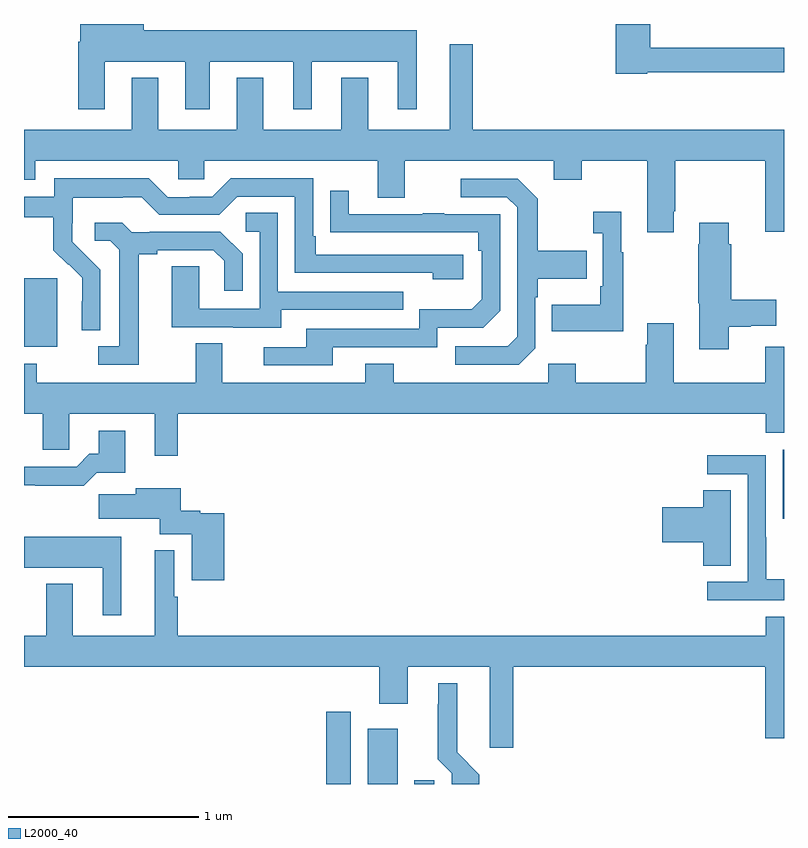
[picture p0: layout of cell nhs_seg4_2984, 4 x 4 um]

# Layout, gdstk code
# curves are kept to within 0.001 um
import gdstk
lib = gdstk.Library(unit=1e-6, precision=1e-09)
def R(c, l, rs):  # rectangles x0, y0, x1, y1
    for r in rs: c.add(gdstk.rectangle(r[:2], r[2:], *l))
def P(c, l, *ps):  # polygons
    for p in ps: c.add(gdstk.Polygon(p, *l))
L2000_40 = (2000, 40)

nhs_seg4_2984 = lib.new_cell('nhs_seg4_2984')
R(nhs_seg4_2984, L2000_40, [(270.59,766.9,270.721,767.281), (270.809,766.9,270.967,767.191), (271.055,766.9,271.159,766.921), (272.993,768.297,273,768.658), (269,769.202,269.176,769.563)])
P(nhs_seg4_2984, L2000_40, [(269.425,770.702),(269.849,770.702),(269.849,770.451),(269.977,770.451),(269.977,770.702),(270.416,770.702),(270.416,770.451),(270.514,770.451),(270.514,770.702),(270.968,770.702),(270.968,770.451),(271.066,770.451),(271.066,770.866),(269.629,770.866),(269.629,770.9),(269.297,770.9),(269.297,770.806),(269.285,770.806),(269.285,770.451),(269.425,770.451)],
  [(272.28,770.646),(273,770.646),(273,770.774),(272.297,770.774),(272.297,770.9),(272.114,770.9),(272.114,770.638),(272.28,770.638)],
  [(272.419,769.915),(272.427,769.915),(272.427,770.18),(272.9,770.18),(272.9,769.806),(273,769.806),(273,770.344),(271.363,770.344),(271.363,770.794),(271.241,770.794),(271.241,770.344),(270.811,770.344),(270.811,770.617),(270.671,770.617),(270.671,770.344),(270.259,770.344),(270.259,770.617),(270.119,770.617),(270.119,770.344),(269.707,770.344),(269.707,770.617),(269.567,770.617),(269.567,770.344),(269,770.344),(269,770.081),(269.059,770.081),(269.059,770.18),(269.811,770.18),(269.811,770.082),(269.949,770.082),(269.949,770.18),(270.863,770.18),(270.863,769.986),(271.003,769.986),(271.003,770.18),(271.787,770.18),(271.787,770.081),(271.935,770.081),(271.935,770.18),(272.279,770.18),(272.279,769.803),(272.419,769.803)],
  [(269.4,769.606),(269.254,769.754),(269.254,769.851),(269.256,769.851),(269.256,769.985),(269.519,769.985),(269.519,769.989),(269.619,769.989),(269.712,769.896),(270.027,769.896),(270.123,769.992),(270.426,769.992),(270.426,769.59),(271.151,769.59),(271.151,769.556),(271.312,769.556),(271.312,769.686),(270.535,769.686),(270.535,769.783),(270.522,769.783),(270.522,770.088),(270.087,770.088),(269.991,769.992),(269.873,769.992),(269.873,769.989),(269.757,769.989),(269.657,770.089),(269.16,770.089),(269.16,769.992),(269,769.992),(269,769.884),(269.155,769.884),(269.155,769.709),(269.232,769.632),(269.235,769.635),(269.306,769.565),(269.306,769.442),(269.304,769.442),(269.304,769.288),(269.4,769.288)],
  [(271.692,769.194),(271.692,769.463),(271.705,769.463),(271.705,769.559),(271.961,769.559),(271.961,769.707),(271.705,769.707),(271.705,769.979),(271.599,770.085),(271.299,770.085),(271.299,769.989),(271.542,769.989),(271.596,769.935),(271.596,769.254),(271.545,769.203),(271.269,769.203),(271.269,769.107),(271.605,769.107)],
  [(270.625,769.2),(271.176,769.2),(271.176,769.302),(271.416,769.302),(271.506,769.392),(271.506,769.899),(271.211,769.899),(271.211,769.904),(271.099,769.904),(271.099,769.899),(270.709,769.899),(270.709,770.023),(270.613,770.023),(270.613,769.804),(271.39,769.803),(271.39,769.706),(271.41,769.706),(271.41,769.452),(271.357,769.399),(271.08,769.399),(271.08,769.296),(270.485,769.296),(270.485,769.2),(270.261,769.2),(270.261,769.104),(270.625,769.104)],
  [(272.155,769.699),(272.143,769.699),(272.143,769.912),(271.995,769.912),(271.995,769.799),(272.046,769.799),(272.046,769.519),(272.034,769.519),(272.034,769.423),(271.777,769.423),(271.777,769.283),(272.155,769.283)],
  [(270.355,769.395),(270.995,769.395),(270.995,769.491),(270.336,769.491),(270.336,769.907),(270.168,769.907),(270.168,769.806),(270.24,769.806),(270.24,769.401),(269.922,769.401),(269.922,769.625),(269.777,769.625),(269.777,769.305),(270.101,769.305),(270.101,769.301),(270.355,769.301)],
  [(269.605,769.688),(269.701,769.688),(269.701,769.71),(269.996,769.71),(270.053,769.653),(270.053,769.497),(270.15,769.497),(270.15,769.69),(270.034,769.806),(269.662,769.806),(269.662,769.803),(269.568,769.803),(269.516,769.855),(269.373,769.855),(269.373,769.758),(269.454,769.758),(269.501,769.711),(269.501,769.203),(269.391,769.203),(269.391,769.107),(269.605,769.107)],
  [(272.71,769.306),(272.826,769.306),(272.826,769.313),(272.959,769.313),(272.959,769.448),(272.723,769.448),(272.723,769.742),(272.71,769.742),(272.71,769.855),(272.555,769.855),(272.555,769.742),(272.548,769.742),(272.548,769.431),(272.555,769.431),(272.555,769.188),(272.71,769.188)],
  [(269.809,768.848),(272.903,768.848),(272.903,768.749),(273,768.749),(273,769.201),(272.9,769.201),(272.9,769.012),(272.419,769.012),(272.419,769.324),(272.279,769.324),(272.279,769.211),(272.272,769.211),(272.272,769.012),(271.905,769.012),(271.905,769.111),(271.758,769.111),(271.758,769.012),(270.945,769.012),(270.945,769.111),(270.797,769.111),(270.797,769.012),(270.043,769.012),(270.043,769.22),(269.903,769.22),(269.903,769.012),(269.067,769.012),(269.067,769.111),(269,769.111),(269,768.848),(269.099,768.848),(269.099,768.658),(269.238,768.658),(269.238,768.848),(269.687,768.848),(269.687,768.627),(269.809,768.627)],
  [(269.384,768.539),(269.533,768.539),(269.533,768.76),(269.393,768.76),(269.393,768.637),(269.344,768.637),(269.277,768.57),(269,768.57),(269,768.472),(269.059,768.472),(269.059,768.47),(269.315,768.47)],
  [(273,767.977),(272.907,767.977),(272.907,768.2),(272.904,768.2),(272.904,768.63),(272.595,768.63),(272.595,768.531),(272.808,768.531),(272.808,767.964),(272.595,767.964),(272.595,767.868),(273,767.868)],
  [(270.053,768.325),(269.928,768.325),(269.928,768.338),(269.824,768.338),(269.824,768.457),(269.588,768.457),(269.588,768.425),(269.394,768.425),(269.394,768.296),(269.714,768.296),(269.714,768.215),(269.882,768.215),(269.882,767.973),(270.053,767.973)],
  [(272.719,768.446),(272.576,768.446),(272.576,768.356),(272.358,768.356),(272.358,768.173),(272.576,768.173),(272.576,768.049),(272.719,768.049)],
  [(269.512,768.202),(269,768.202),(269,768.038),(269.414,768.038),(269.414,767.787),(269.512,767.787)],
  [(271.574,767.516),(272.9,767.516),(272.9,767.142),(273,767.142),(273,767.779),(272.903,767.779),(272.903,767.68),(269.809,767.68),(269.809,767.885),(269.791,767.885),(269.791,768.13),(269.687,768.13),(269.687,767.68),(269.257,767.68),(269.257,767.953),(269.117,767.953),(269.117,767.68),(269,767.68),(269,767.516),(270.869,767.516),(270.869,767.322),(271.021,767.322),(271.021,767.516),(271.451,767.516),(271.451,767.091),(271.574,767.091)],
  [(271.397,766.95),(271.279,767.068),(271.279,767.431),(271.181,767.431),(271.181,767.321),(271.178,767.321),(271.178,767.029),(271.251,766.956),(271.251,766.9),(271.397,766.9)])

lib.write_gds('nhs_seg4_2984.gds')
